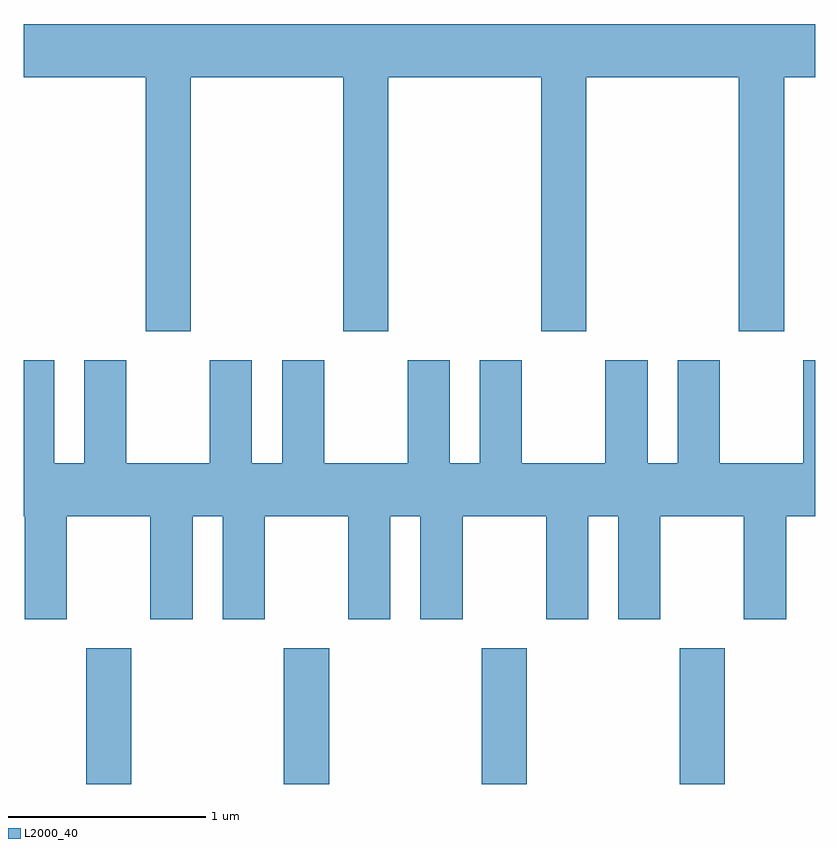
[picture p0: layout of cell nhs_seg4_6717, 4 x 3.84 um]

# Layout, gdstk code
import gdstk
lib = gdstk.Library(unit=1e-6, precision=1e-09)
def R(c, l, rs):  # rectangles x0, y0, x1, y1
    for r in rs: c.add(gdstk.rectangle(r[:2], r[2:], *l))
def A(c, l, x, y, w, h, nx, ny, dx, dy):  # array of equal rectangles
    R(c, l, [(x+i*dx, y+j*dy, x+i*dx+w, y+j*dy+h) for i in range(nx) for j in range(ny)])
def P(c, l, *ps):  # polygons
    for p in ps: c.add(gdstk.Polygon(p, *l))
L2000_40 = (2000, 40)

nhs_seg4_6717 = lib.new_cell('nhs_seg4_6717')
A(nhs_seg4_6717, L2000_40, 381.926, 1359.982, 0.228, 0.687, 4, 1, 1, 0)
P(nhs_seg4_6717, L2000_40, [(382.454,1363.556),(383.226,1363.556),(383.226,1362.271),(383.454,1362.271),(383.454,1363.556),(384.226,1363.556),(384.226,1362.271),(384.454,1362.271),(384.454,1363.556),(385.226,1363.556),(385.226,1362.271),(385.454,1362.271),(385.454,1363.556),(385.611,1363.556),(385.611,1363.824),(381.611,1363.824),(381.611,1363.556),(382.226,1363.556),(382.226,1362.271),(382.454,1362.271)],
  [(383.251,1360.816),(383.464,1360.816),(383.464,1361.336),(383.616,1361.336),(383.616,1360.816),(383.829,1360.816),(383.829,1361.336),(384.251,1361.336),(384.251,1360.816),(384.464,1360.816),(384.464,1361.336),(384.616,1361.336),(384.616,1360.816),(384.829,1360.816),(384.829,1361.336),(385.251,1361.336),(385.251,1360.816),(385.464,1360.816),(385.464,1361.336),(385.611,1361.336),(385.611,1362.124),(385.551,1362.124),(385.551,1361.604),(385.129,1361.604),(385.129,1362.124),(384.916,1362.124),(384.916,1361.604),(384.764,1361.604),(384.764,1362.124),(384.551,1362.124),(384.551,1361.604),(384.129,1361.604),(384.129,1362.124),(383.916,1362.124),(383.916,1361.604),(383.764,1361.604),(383.764,1362.124),(383.551,1362.124),(383.551,1361.604),(383.129,1361.604),(383.129,1362.124),(382.916,1362.124),(382.916,1361.604),(382.764,1361.604),(382.764,1362.124),(382.551,1362.124),(382.551,1361.604),(382.129,1361.604),(382.129,1362.124),(381.916,1362.124),(381.916,1361.604),(381.764,1361.604),(381.764,1362.124),(381.611,1362.124),(381.611,1361.336),(381.616,1361.336),(381.616,1360.816),(381.829,1360.816),(381.829,1361.336),(382.251,1361.336),(382.251,1360.816),(382.464,1360.816),(382.464,1361.336),(382.616,1361.336),(382.616,1360.816),(382.829,1360.816),(382.829,1361.336),(383.251,1361.336)])

lib.write_gds('nhs_seg4_6717.gds')
